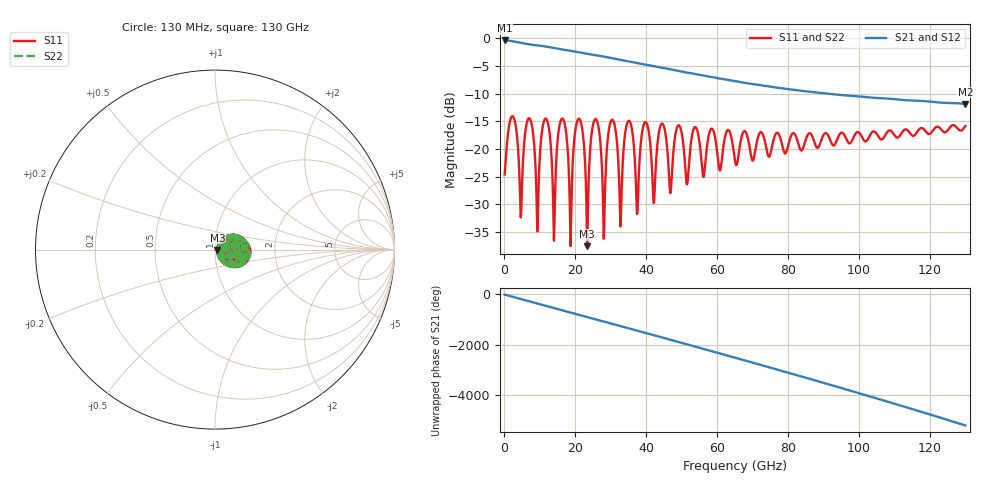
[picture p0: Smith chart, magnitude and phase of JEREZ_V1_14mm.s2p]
! TOUCHSTONE file generated by CST MICROWAVE STUDIO
! Date and time: Thu Sep 17 08:45:15 2026
! Project name: DESIGN_JEREZ_V1_suspe_siliconetch_275_14mm.cst
! Parameters = {GAP=0.00415; L=14; L1=0.02; L2=0.18; L3=0.076; LATERAL2=0.01; NCELL=69; PITCH=0.2; PROCESS=0.001; START_POSITION=0.1; W1=0.002; W2=0.02; W3=0.021; W3A1=0; WG=0.04; buffer_oxidine=0.004; gap_oxide_oxv=0.014; gap_oxr=0.00125; lateral_etch=0.005; linbo3_thickness=0.000275; margine_frr=0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
! Header version: 2024
! Port assignment regex: !\s*Touchstone port\s*([0-9]+)\s*=\s*(CST MWS port|CST DES external port|CST DES block port)\s*(.+)\s* \(\"(.*)\"\)(\s*mode\s*([0-9]+))?.*
! Touchstone port assignment:
! Touchstone port 1 = CST MWS port 1 ("")
! Touchstone port 2 = CST MWS port 2 ("")
# GHz S MA R 50
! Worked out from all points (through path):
!   1000 points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, 130 MHz to 130 GHz, reference 50 ohm
!   highest |S21| = -0.40 dB at 130 MHz (marker M1); lowest = -11.9 dB at 130 GHz (marker M2)
!   lowest |S11| = -37.6 dB at 23.4 GHz (marker M3), VSWR 1.03, Z = 51.3 - j0.177 ohm
!   |S11| at or under -10 dB: start of sweep to end of sweep
!   |S22| runs from -37.7 to -14.1 dB; largest |S21 - S12| = 6.2e-06
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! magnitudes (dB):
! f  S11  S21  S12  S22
! 130 MHz  -24.6  -0.4  -0.4  -24.6
! 2.47 GHz  -14.1  -0.6  -0.6  -14.1
! 4.81 GHz  -31.5  -0.9  -0.9  -31.5
! 7.15 GHz  -14.5  -1.1  -1.1  -14.5
! 9.36 GHz  -34.9  -1.3  -1.3  -35.0
! 11.83 GHz  -14.6  -1.5  -1.5  -14.6
! 14.04 GHz  -36.6  -1.8  -1.8  -36.7
! 16.38 GHz  -14.5  -2.0  -2.0  -14.5
! 18.72 GHz  -37.6  -2.3  -2.3  -37.7
! 21.84 GHz  -15.8  -2.6  -2.6  -15.8
! 23.4 GHz  -37.6  -2.8  -2.8  -37.6
! 25.61 GHz  -14.6  -3.0  -3.0  -14.6
! 28.08 GHz  -36.2  -3.3  -3.3  -36.2
! 30.29 GHz  -14.8  -3.6  -3.6  -14.8
! 32.76 GHz  -34.0  -3.9  -3.9  -34.0
! 34.97 GHz  -15.0  -4.2  -4.2  -15.0
! 37.44 GHz  -31.8  -4.5  -4.5  -31.8
! 43.42 GHz  -17.9  -5.2  -5.2  -17.9
! 65.13 GHz  -22.4  -7.8  -7.8  -22.4
! 86.71 GHz  -17.6  -9.7  -9.7  -17.6
! 108.4 GHz  -16.7  -10.9  -10.9  -16.7
! 130 GHz  -15.9  -11.9  -11.9  -15.9
